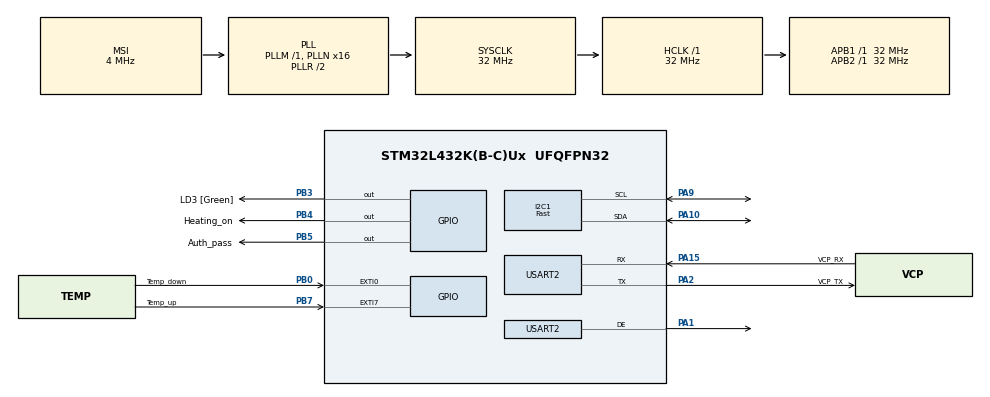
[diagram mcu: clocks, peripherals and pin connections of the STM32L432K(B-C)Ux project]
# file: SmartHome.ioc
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FREERTOS.BinarySemaphores01=Temp_Sem,Dynamic,NULL,Available;OLED_Sem,Dynamic,NULL,Available;Rfid01,Dynamic,NULL,Available
FREERTOS.HEAP_NUMBER=4
FREERTOS.Mutexes01=I2C_Mutex,Dynamic,NULL,Available
FREERTOS.Tasks01=Temp_Read,24,512,StartTemp,Default,NULL,Dynamic,NULL,NULL;Encoder,26,128,StartEncoder,Default,NULL,Dynamic,NULL,NULL;OLED_Disp,32,512,StartOLED,Default,NULL,Dynamic,NULL,NULL;Heating,28,128,StartHeating01,Default,NULL,Dynamic,NULL,NULL;RFID,40,512,StartRFID,Default,NULL,Dynamic,NULL,NULL
FREERTOS.configTOTAL_HEAP_SIZE=10000
FREERTOS.configUSE_NEWLIB_REENTRANT=1
I2C1.I2C_Speed_Mode=I2C_Fast
I2C1.Timing=0x0060112F
Mcu.Family=STM32L4
Mcu.Name=STM32L432K(B-C)Ux
Mcu.Package=UFQFPN32
NVIC.EXTI0_IRQn=true\:5\:0\:false\:false\:true\:true\:true\:true\:true
NVIC.EXTI9_5_IRQn=true\:5\:0\:false\:false\:true\:true\:true\:true\:true
NVIC.PriorityGroup=NVIC_PRIORITYGROUP_4
NVIC.TIM7_IRQn=true\:15\:0\:false\:false\:true\:false\:false\:true\:true
NVIC.TimeBase=TIM7_IRQn
NVIC.TimeBaseIP=TIM7
NVIC.USART2_IRQn=true\:5\:0\:false\:false\:true\:true\:true\:true\:true
PA0.GPIO_Label=MCO [High speed clock in]
PA0.Mode=HSE-External-Clock-Source-for-LittleOrca
PA0.Signal=RCC_CK_IN
PA1.Mode=Hardware Flow Control (RS485)
PA1.Signal=USART2_DE
PA10.Mode=I2C
PA10.Signal=I2C1_SDA
PA13\ (JTMS-SWDIO).GPIO_Label=SWDIO
PA13\ (JTMS-SWDIO).Mode=Serial_Wire
PA13\ (JTMS-SWDIO).Signal=SYS_JTMS-SWDIO
PA14\ (JTCK-SWCLK).GPIO_Label=SWCLK
PA14\ (JTCK-SWCLK).Mode=Serial_Wire
PA14\ (JTCK-SWCLK).Signal=SYS_JTCK-SWCLK
PA15\ (JTDI).GPIO_Label=VCP_RX
PA15\ (JTDI).Mode=Asynchronous
PA15\ (JTDI).Signal=USART2_RX
PA2.GPIO_Label=VCP_TX
PA2.Mode=Asynchronous
PA2.Signal=USART2_TX
PA9.Mode=I2C
PA9.Signal=I2C1_SCL
PB0.GPIO_Label=Temp_down
PB0.GPIO_PuPd=GPIO_PULLDOWN
PB0.Signal=GPXTI0
PB3\ (JTDO-TRACESWO).GPIO_Label=LD3 [Green]
PB3\ (JTDO-TRACESWO).Signal=GPIO_Output
PB4\ (NJTRST).GPIO_Label=Heating_on
PB4\ (NJTRST).Signal=GPIO_Output
PB5.GPIO_Label=Auth_pass
PB5.Signal=GPIO_Output
PB7.GPIO_Label=Temp_up
PB7.GPIO_PuPd=GPIO_PULLDOWN
PB7.Signal=GPXTI7
PC14-OSC32_IN\ (PC14).Signal=RCC_OSC32_IN
PC15-OSC32_OUT\ (PC15).Signal=RCC_OSC32_OUT
ProjectManager.HeapSize=0x200
ProjectManager.StackSize=0x400
ProjectManager.TargetToolchain=STM32CubeIDE
RCC.AHBFreq_Value=32000000
RCC.APB1Freq_Value=32000000
RCC.APB1TimFreq_Value=32000000
RCC.APB2Freq_Value=32000000
RCC.APB2TimFreq_Value=32000000
RCC.CortexFreq_Value=32000000
RCC.HCLKFreq_Value=32000000
RCC.HSE_VALUE=8000000
RCC.HSI16_VALUE=16000000
RCC.HSI48_VALUE=48000000
RCC.HSI_VALUE=16000000
RCC.LSE_VALUE=32768
RCC.MSI_VALUE=4000000
RCC.PLLMUL=RCC_PLLMUL_4
RCC.PLLN=16
RCC.SYSCLKFreq_VALUE=32000000
RCC.SYSCLKSource=RCC_SYSCLKSOURCE_PLLCLK
RCC.VCOOutputFreq_Value=64000000
USART2.RxPinLevelInvertParam=ADVFEATURE_RXINV_ENABLE
USART2.TxPinLevelInvertParam=ADVFEATURE_TXINV_ENABLE
USART2.VirtualMode-Asynchronous=VM_ASYNC
USART2.VirtualMode-Hardware\ Flow\ Control\ (RS485)=VM_ASYNC
VP_FREERTOS_VS_CMSIS_V2.Mode=CMSIS_V2
VP_SYS_VS_tim7.Mode=TIM7
board=NUCLEO-L432KC

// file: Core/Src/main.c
/* USER CODE BEGIN Header */
/**
  ******************************************************************************
  * @file           : main.c
  * @brief          : Main program body
  ******************************************************************************
  * @attention
  *
  * Copyright (c) 2025 STMicroelectronics.
  * All rights reserved.
  *
  * This software is licensed under terms that can be found in the LICENSE file
  * in the root directory of this software component.
  * If no LICENSE file comes with this software, it is provided AS-IS.
  *
  ******************************************************************************
  */
/* USER CODE END Header */
#include "main.h"
#include "cmsis_os.h"

/* USER CODE BEGIN Includes */
#include <stdio.h>
#include <stdlib.h>
#include <string.h>
#include "bme280.h"
#include "ssd1306.h"
#include "ssd1306_fonts.h"
#include "ssd1306_conf.h"
#include "pn532.h"
#include "pn532_stm32f1.h"

//https://github.com/eziya/STM32_HAL_BME280
//https://github.com/afiskon/stm32-ssd1306

/* USER CODE END Includes */

/* USER CODE BEGIN PD */
#define DEBOUNCE_MS 50
#define BTN_UP 0x01
#define BTN_DWN 0x02
/* USER CODE END PD */

I2C_HandleTypeDef hi2c1;

UART_HandleTypeDef huart2;

/* Definitions for Temp_Read */
osThreadId_t Temp_ReadHandle;
const osThreadAttr_t Temp_Read_attributes = {
  .name = "Temp_Read",
  .stack_size = 512 * 4,
  .priority = (osPriority_t) osPriorityNormal,
};
/* Definitions for Encoder */
osThreadId_t EncoderHandle;
const osThreadAttr_t Encoder_attributes = {
  .name = "Encoder",
  .stack_size = 128 * 4,
  .priority = (osPriority_t) osPriorityNormal2,
};
/* Definitions for OLED_Disp */
osThreadId_t OLED_DispHandle;
const osThreadAttr_t OLED_Disp_attributes = {
  .name = "OLED_Disp",
  .stack_size = 512 * 4,
  .priority = (osPriority_t) osPriorityAboveNormal,
};
/* Definitions for Heating */
osThreadId_t HeatingHandle;
const osThreadAttr_t Heating_attributes = {
  .name = "Heating",
  .stack_size = 128 * 4,
  .priority = (osPriority_t) osPriorityNormal4,
};
/* Definitions for RFID */
osThreadId_t RFIDHandle;
const osThreadAttr_t RFID_attributes = {
  .name = "RFID",
  .stack_size = 512 * 4,
  .priority = (osPriority_t) osPriorityHigh,
};
/* Definitions for I2C_Mutex */
osMutexId_t I2C_MutexHandle;
const osMutexAttr_t I2C_Mutex_attributes = {
  .name = "I2C_Mutex"
};
/* Definitions for Temp_Sem */
osSemaphoreId_t Temp_SemHandle;
const osSemaphoreAttr_t Temp_Sem_attributes = {
  .name = "Temp_Sem"
};
/* Definitions for OLED_Sem */
osSemaphoreId_t OLED_SemHandle;
const osSemaphoreAttr_t OLED_Sem_attributes = {
  .name = "OLED_Sem"
};
/* Definitions for Rfid01 */
osSemaphoreId_t Rfid01Handle;
const osSemaphoreAttr_t Rfid01_attributes = {
  .name = "Rfid01"
};
/* USER CODE BEGIN PV */
volatile float temperature;
volatile float humidity;
volatile float pressure;
volatile uint8_t set_temp = 20;
uint32_t tick;

struct bme280_dev dev;
struct bme280_data comp_data;
int8_t rslt;

char hum_string[50];
char temp_string[50];
char press_string[50];
char uart_buf[150];
char RFID_buf[50];

//RFID
uint8_t buff[255];
uint8_t uid[MIFARE_UID_MAX_LENGTH];
int32_t uid_len = 0;
char uart_buff[100];
PN532 pn532; //struktura do obsługi RFID
struct User;
uint8_t usr_cnt = 0;
char name[20];
bool check_code = 1;
char code2[20];

uint32_t start_tick;

/*Event_Flags*/
osEventFlagsId_t Button_flags;
const osEventFlagsAttr_t ButtonEvents_attributes = { .name = "Button_flags" };
/* USER CODE END PV */

void SystemClock_Config(void);
static void MX_GPIO_Init(void);
static void MX_USART2_UART_Init(void);
static void MX_I2C1_Init(void);
void StartTemp(void *argument);
void StartEncoder(void *argument);
void StartOLED(void *argument);
void StartHeating01(void *argument);
void StartRFID(void *argument);

/* USER CODE BEGIN PFP */
int8_t user_i2c_read(uint8_t id, uint8_t reg_addr, uint8_t *data, uint16_t len);
int8_t user_i2c_write(uint8_t id, uint8_t reg_addr, uint8_t *data, uint16_t len);
void user_delay_ms(uint32_t period);
/* USER CODE END PFP */

/* USER CODE BEGIN 0 */
int8_t user_i2c_read(uint8_t id, uint8_t reg_addr, uint8_t *data, uint16_t len)
{
  if (HAL_I2C_Master_Transmit(&hi2c1, (id << 1), &reg_addr, 1, 100) != HAL_OK)
    return -1;
  if (HAL_I2C_Master_Receive(&hi2c1, (id << 1), data, len, 100) != HAL_OK)
    return -1;
  return 0;
}

int8_t user_i2c_write(uint8_t id, uint8_t reg_addr, uint8_t *data, uint16_t len)
{
  uint8_t buf[20];
  buf[0] = reg_addr;
  memcpy(buf + 1, data, len);
  if (HAL_I2C_Master_Transmit(&hi2c1, (id << 1), buf, len + 1, 100) != HAL_OK)
    return -1;
  return 0;
}

void user_delay_ms(uint32_t period)
{
  HAL_Delay(period);
}

struct User{
	char name[20];
	uint8_t code[4];
};
struct User users[2];
struct User *ptr = users;

/* USER CODE END 0 */

int main(void)
{

  /* USER CODE BEGIN 1 */
	usr_cnt = sizeof(users)/sizeof(users[0]);
	strcpy(ptr[0].name, "Lidia");
	ptr[0].code[0] = 241;
	ptr[0].code[1] = 69;
	ptr[0].code[2] = 183;
	ptr[0].code[3] = 1;
	strcpy(ptr[1].name, "Kacper");
	ptr[1].code[0] = 141;
	ptr[1].code[1] = 168;
	ptr[1].code[2] = 204;
	ptr[1].code[3] = 1;
  /* USER CODE END 1 */

  /* MCU Configuration--------------------------------------------------------*/

  /* Reset of all peripherals, Initializes the Flash interface and the Systick. */
  HAL_Init();

  /* Configure the system clock */
  SystemClock_Config();

  /* Initialize all configured peripherals */
  MX_GPIO_Init();
  MX_USART2_UART_Init();
  MX_I2C1_Init();
  /* USER CODE BEGIN 2 */

    /*
     *  BME280 initialization
     */
    dev.dev_id = BME280_I2C_ADDR_PRIM;   // 0x76 or 0x77 depending on module
    dev.intf = BME280_I2C_INTF;
    dev.read = user_i2c_read;
    dev.write = user_i2c_write;
    dev.delay_ms = user_delay_ms;

    rslt = bme280_init(&dev);
    if (rslt != BME280_OK) {
      sprintf(uart_buf, "BME280 init failed (%d)\r\n", rslt);
      HAL_UART_Transmit(&huart2, (uint8_t*)uart_buf, strlen(uart_buf), HAL_MAX_DELAY);
    } else {
      sprintf(uart_buf, "BME280 initialized successfully!\r\n");
      HAL_UART_Transmit(&huart2, (uint8_t*)uart_buf, strlen(uart_buf), HAL_MAX_DELAY);
    }

    /* Recommended sensor settings */
    dev.settings.osr_h = BME280_OVERSAMPLING_1X;
    dev.settings.osr_p = BME280_OVERSAMPLING_16X;
    dev.settings.osr_t = BME280_OVERSAMPLING_2X;
    dev.settings.filter = BME280_FILTER_COEFF_16;
    dev.settings.standby_time = BME280_STANDBY_TIME_62_5_MS;
    rslt = bme280_set_sensor_settings(BME280_ALL_SETTINGS_SEL, &dev);

    /*
     * OLED init
     */
    ssd1306_Init();

    /*
     * RFID init
     */
	PN532_I2C_Init(&pn532);
	PN532_GetFirmwareVersion(&pn532, buff);
	if (PN532_GetFirmwareVersion(&pn532, buff) == PN532_STATUS_OK) { //wywalić

		sprintf(uart_buff,"Found PN532 with firmware version: %d.%d\r\n", buff[1], buff[2]);
		HAL_UART_Transmit(&huart2, (uint8_t*) uart_buff,sizeof(uart_buff) , 100);
	} else {
	  return -1;
	}
	PN532_SamConfiguration(&pn532);
  /* USER CODE END 2 */

  /* Init scheduler */
  osKernelInitialize();
  /* Create the mutex(es) */
  /* creation of I2C_Mutex */
  I2C_MutexHandle = osMutexNew(&I2C_Mutex_attributes);

  /* Create the semaphores(s) */
  /* creation of Temp_Sem */
  Temp_SemHandle = osSemaphoreNew(1, 1, &Temp_Sem_attributes);

  /* creation of OLED_Sem */
  OLED_SemHandle = osSemaphoreNew(1, 1, &OLED_Sem_attributes);

  /* creation of Rfid01 */
  Rfid01Handle = osSemaphoreNew(1, 1, &Rfid01_attributes);

  /* Create the thread(s) */
  /* creation of Temp_Read */
  Temp_ReadHandle = osThreadNew(StartTemp, NULL, &Temp_Read_attributes);

  /* creation of Encoder */
  EncoderHandle = osThreadNew(StartEncoder, NULL, &Encoder_attributes);

  /* creation of OLED_Disp */
  OLED_DispHandle = osThreadNew(StartOLED, NULL, &OLED_Disp_attributes);

  /* creation of Heating */
  HeatingHandle = osThreadNew(StartHeating01, NULL, &Heating_attributes);

  /* creation of RFID */
  RFIDHandle = osThreadNew(StartRFID, NULL, &RFID_attributes);

  /* USER CODE BEGIN RTOS_EVENTS */
  Button_flags = osEventFlagsNew(&ButtonEvents_attributes);
  /* USER CODE END RTOS_EVENTS */

  /* Start scheduler */
  osKernelStart();

  /* We should never get here as control is now taken by the scheduler */

  /* Infinite loop */
  while (1)
  {
  }

}

void SystemClock_Config(void)
{
  RCC_OscInitTypeDef RCC_OscInitStruct = {0};
  RCC_ClkInitTypeDef RCC_ClkInitStruct = {0};

  /** Configure the main internal regulator output voltage
  */
  if (HAL_PWREx_ControlVoltageScaling(PWR_REGULATOR_VOLTAGE_SCALE1) != HAL_OK)
  {
    Error_Handler();
  }

  /** Initializes the RCC Oscillators according to the specified parameters
  * in the RCC_OscInitTypeDef structure.
  */
  RCC_OscInitStruct.OscillatorType = RCC_OSCILLATORTYPE_MSI;
  RCC_OscInitStruct.MSIState = RCC_MSI_ON;
  RCC_OscInitStruct.MSICalibrationValue = 0;
  RCC_OscInitStruct.MSIClockRange = RCC_MSIRANGE_6;
  RCC_OscInitStruct.PLL.PLLState = RCC_PLL_ON;
  RCC_OscInitStruct.PLL.PLLSource = RCC_PLLSOURCE_MSI;
  RCC_OscInitStruct.PLL.PLLM = 1;
  RCC_OscInitStruct.PLL.PLLN = 16;
  RCC_OscInitStruct.PLL.PLLP = RCC_PLLP_DIV7;
  RCC_OscInitStruct.PLL.PLLQ = RCC_PLLQ_DIV2;
  RCC_OscInitStruct.PLL.PLLR = RCC_PLLR_DIV2;
  if (HAL_RCC_OscConfig(&RCC_OscInitStruct) != HAL_OK)
  {
    Error_Handler();
  }

  /** Initializes the CPU, AHB and APB buses clocks
  */
  RCC_ClkInitStruct.ClockType = RCC_CLOCKTYPE_HCLK|RCC_CLOCKTYPE_SYSCLK
                              |RCC_CLOCKTYPE_PCLK1|RCC_CLOCKTYPE_PCLK2;
  RCC_ClkInitStruct.SYSCLKSource = RCC_SYSCLKSOURCE_PLLCLK;
  RCC_ClkInitStruct.AHBCLKDivider = RCC_SYSCLK_DIV1;
  RCC_ClkInitStruct.APB1CLKDivider = RCC_HCLK_DIV1;
  RCC_ClkInitStruct.APB2CLKDivider = RCC_HCLK_DIV1;

  if (HAL_RCC_ClockConfig(&RCC_ClkInitStruct, FLASH_LATENCY_1) != HAL_OK)
  {
    Error_Handler();
  }
}

static void MX_I2C1_Init(void)
{

  hi2c1.Instance = I2C1;
  hi2c1.Init.Timing = 0x0060112F;
  hi2c1.Init.OwnAddress1 = 0;
  hi2c1.Init.AddressingMode = I2C_ADDRESSINGMODE_7BIT;
  hi2c1.Init.DualAddressMode = I2C_DUALADDRESS_DISABLE;
  hi2c1.Init.OwnAddress2 = 0;
  hi2c1.Init.OwnAddress2Masks = I2C_OA2_NOMASK;
  hi2c1.Init.GeneralCallMode = I2C_GENERALCALL_DISABLE;
  hi2c1.Init.NoStretchMode = I2C_NOSTRETCH_DISABLE;
  if (HAL_I2C_Init(&hi2c1) != HAL_OK)
  {
    Error_Handler();
  }

  /** Configure Analogue filter
  */
  if (HAL_I2CEx_ConfigAnalogFilter(&hi2c1, I2C_ANALOGFILTER_ENABLE) != HAL_OK)
  {
    Error_Handler();
  }

  /** Configure Digital filter
  */
  if (HAL_I2CEx_ConfigDigitalFilter(&hi2c1, 0) != HAL_OK)
  {
    Error_Handler();
  }

}

static void MX_USART2_UART_Init(void)
{

  huart2.Instance = USART2;
  huart2.Init.BaudRate = 115200;
  huart2.Init.WordLength = UART_WORDLENGTH_8B;
  huart2.Init.StopBits = UART_STOPBITS_1;
  huart2.Init.Parity = UART_PARITY_NONE;
  huart2.Init.Mode = UART_MODE_TX_RX;
  huart2.Init.HwFlowCtl = UART_HWCONTROL_NONE;
  huart2.Init.OverSampling = UART_OVERSAMPLING_16;
  huart2.Init.OneBitSampling = UART_ONE_BIT_SAMPLE_DISABLE;
  huart2.AdvancedInit.AdvFeatureInit = UART_ADVFEATURE_TXINVERT_INIT|UART_ADVFEATURE_RXINVERT_INIT;
  huart2.AdvancedInit.TxPinLevelInvert = UART_ADVFEATURE_TXINV_ENABLE;
  huart2.AdvancedInit.RxPinLevelInvert = UART_ADVFEATURE_RXINV_ENABLE;
  if (HAL_RS485Ex_Init(&huart2, UART_DE_POLARITY_HIGH, 0, 0) != HAL_OK)
  {
    Error_Handler();
  }

}

static void MX_GPIO_Init(void)
{
  GPIO_InitTypeDef GPIO_InitStruct = {0};

  /* GPIO Ports Clock Enable */
  __HAL_RCC_GPIOC_CLK_ENABLE();
  __HAL_RCC_GPIOA_CLK_ENABLE();
  __HAL_RCC_GPIOB_CLK_ENABLE();

  /*Configure GPIO pin Output Level */
  HAL_GPIO_WritePin(GPIOB, LD3_Pin|Heating_on_Pin|Auth_pass_Pin, GPIO_PIN_RESET);

  /*Configure GPIO pins : Temp_down_Pin Temp_up_Pin */
  GPIO_InitStruct.Pin = Temp_down_Pin|Temp_up_Pin;
  GPIO_InitStruct.Mode = GPIO_MODE_IT_RISING;
  GPIO_InitStruct.Pull = GPIO_PULLDOWN;
  HAL_GPIO_Init(GPIOB, &GPIO_InitStruct);

  /*Configure GPIO pins : LD3_Pin Heating_on_Pin Auth_pass_Pin */
  GPIO_InitStruct.Pin = LD3_Pin|Heating_on_Pin|Auth_pass_Pin;
  GPIO_InitStruct.Mode = GPIO_MODE_OUTPUT_PP;
  GPIO_InitStruct.Pull = GPIO_NOPULL;
  GPIO_InitStruct.Speed = GPIO_SPEED_FREQ_LOW;
  HAL_GPIO_Init(GPIOB, &GPIO_InitStruct);

  /* EXTI interrupt init*/
  HAL_NVIC_SetPriority(EXTI0_IRQn, 5, 0);
  HAL_NVIC_EnableIRQ(EXTI0_IRQn);

  HAL_NVIC_SetPriority(EXTI9_5_IRQn, 5, 0);
  HAL_NVIC_EnableIRQ(EXTI9_5_IRQn);

}

/* USER CODE BEGIN 4 */
void HAL_GPIO_EXTI_Callback(uint16_t Pin){
	if(Pin == GPIO_PIN_7){
		osEventFlagsSet(Button_flags, BTN_UP);
	}
	if(Pin == GPIO_PIN_0){
		osEventFlagsSet(Button_flags, BTN_DWN);
	}
}
/* USER CODE END 4 */

void StartTemp(void *argument)
{
  /* USER CODE BEGIN 5 */
  /* Infinite loop */
  for(;;)
  {
	  if(osMutexAcquire(I2C_MutexHandle, 200) == osOK){
		  //tick = osKernelGetTickCount();
		  HAL_GPIO_TogglePin(GPIOB, GPIO_PIN_3);
		  rslt = bme280_set_sensor_mode(BME280_FORCED_MODE, &dev);
			  osDelay(40);

			  rslt = bme280_get_sensor_data(BME280_ALL, &comp_data, &dev);
			  if (rslt == BME280_OK)
			  {
				temperature = comp_data.temperature / 100.0f;
				humidity = comp_data.humidity / 1024.0f;
				pressure = comp_data.pressure / 10000.0f;
			  }
			  else
			  {
				sprintf(uart_buf, "BME280 read error (%d)\r\n", rslt);
				HAL_UART_Transmit(&huart2, (uint8_t*)uart_buf, strlen(uart_buf), HAL_MAX_DELAY);
			  }
			  HAL_GPIO_TogglePin(GPIOB, GPIO_PIN_3);
			  osMutexRelease(I2C_MutexHandle);
	  }
	  osSemaphoreRelease(OLED_SemHandle);
	  osSemaphoreRelease(Temp_SemHandle);
	  osDelay(100);
	  //osDelay(tick + 100);
	  //tick = osKernelGetTickCount();
  }
  /* USER CODE END 5 */
}

void StartEncoder(void *argument)
{
  /* USER CODE BEGIN StartEncoder */
	uint32_t flags;
  /* Infinite loop */
  for(;;)
  {
	  flags = osEventFlagsWait(Button_flags, BTN_UP | BTN_DWN, osFlagsWaitAny, osWaitForever);
	  if(!(flags & 0x80000000U)){
		  if(flags & BTN_UP){
			  set_temp++;
		  }

		  if((flags & BTN_DWN) && (set_temp > 0)){
			  set_temp--;
		  }
	  }
	  osDelay(100);
	  osSemaphoreRelease(OLED_SemHandle);
	  osSemaphoreRelease(Temp_SemHandle);
	  osEventFlagsClear(Button_flags, BTN_UP | BTN_DWN);
  }
  /* USER CODE END StartEncoder */
}

void StartOLED(void *argument)
{
  /* USER CODE BEGIN StartOLED */
  /* Infinite loop */
  for(;;)
  {
	  if(osSemaphoreAcquire(OLED_SemHandle, osWaitForever) == osOK){
		  if(osMutexAcquire(I2C_MutexHandle, 100) == osOK){
			  sprintf(uart_buf, "Humidity: %.2f", humidity);
			  ssd1306_SetCursor(1,0);
			  ssd1306_WriteString(uart_buf, Font_7x10, White);
			  sprintf(uart_buf, "Temperature: %.2f", temperature);
			  ssd1306_SetCursor(1,10);
			  ssd1306_WriteString(uart_buf, Font_7x10, White);
			  sprintf(uart_buf, "Set Temp.: %d", set_temp);
			  ssd1306_SetCursor(1,20);
			  ssd1306_WriteString(uart_buf, Font_7x10, White);

			  if(uid_len != PN532_STATUS_ERROR){						//Wypisanie informacji o dostępie
				  ssd1306_SetCursor(1,35);
				  ssd1306_WriteString(RFID_buf, Font_7x10, White);
				  start_tick = osKernelGetTickCount();
			  }
			  if((osKernelGetTickCount() - start_tick) >= 3000){		//Czyszczenie informacji o dostępie po 3 sekundach
				  ssd1306_FillRectangle(0, 35, 255, 45, Black);
				  HAL_GPIO_WritePin(GPIOB, GPIO_PIN_5, 0);
			  }
			  ssd1306_UpdateScreen();
			  osMutexRelease(I2C_MutexHandle);
		  }
	  }
  }
  /* USER CODE END StartOLED */
}

void StartHeating01(void *argument)
{
  /* USER CODE BEGIN StartHeating01 */
  /* Infinite loop */
  for(;;)
  {
	  if(osSemaphoreAcquire(Temp_SemHandle, osWaitForever) == osOK){
		  if(temperature < set_temp){
			  HAL_GPIO_WritePin(GPIOB, GPIO_PIN_4, 1);
		  }
		  else{
			  HAL_GPIO_WritePin(GPIOB, GPIO_PIN_4, 0);
		  }
	  }
  }
  /* USER CODE END StartHeating01 */
}

void StartRFID(void *argument)
{
  /* USER CODE BEGIN StartRFID */
  /* Infinite loop */
  for(;;)
  {
	  if(osMutexAcquire(I2C_MutexHandle, osWaitForever) == osOK){
	  uid_len = PN532_ReadPassiveTarget(&pn532, uid, PN532_MIFARE_ISO14443A, 200);
		  if (uid_len != PN532_STATUS_ERROR) {
			  for(uint8_t x = 0; x < usr_cnt; x++){						//sprawdzenie dla każdego użytkownika
				  check_code = 1;

				  for(uint8_t uid_num = 0; uid_num < 4; uid_num++){		//sprawdzenie 4 segmentów UID
					  if(uid[uid_num] != (ptr+x)->code[uid_num]){
						  check_code = 0;
						  break;
					  }
				  }
				  if(check_code == 1){									//Jeżeli wszystkie 4 kody się zgadzają to check_code = 1 i przypisuje odpowiednie imie
					  strcpy(name,(ptr+x)->name);
					  sprintf(RFID_buf, "Witaj %s", name);
					  HAL_GPIO_WritePin(GPIOB, GPIO_PIN_5, 1);			//Sygnalizacja poprawnej autoryzacji
					  break;
				  }
			  }
			  if(check_code == 0){
				  sprintf(RFID_buf, "Brak dostepu");
			  }
			  osSemaphoreRelease(OLED_SemHandle);
		  } else if(uid_len == PN532_STATUS_ERROR){
			  PN532_SamConfiguration(&pn532);
		  }
		  osMutexRelease(I2C_MutexHandle);
	  }
	  osDelay(500);
  }
  /* USER CODE END StartRFID */
}

void HAL_TIM_PeriodElapsedCallback(TIM_HandleTypeDef *htim)
{
  if (htim->Instance == TIM7)
  {
    HAL_IncTick();
  }
}

void Error_Handler(void)
{
  __disable_irq();
  while (1)
  {
  }
}
